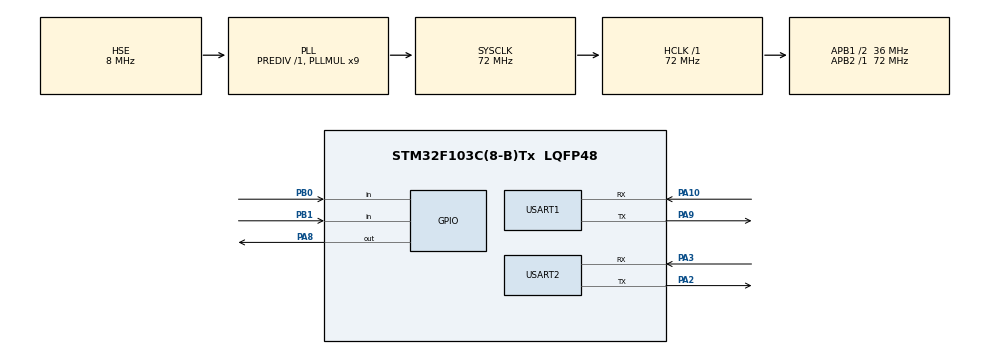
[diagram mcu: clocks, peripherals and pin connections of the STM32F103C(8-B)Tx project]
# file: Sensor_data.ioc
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FREERTOS.Tasks01=defaultTask,0,128,StartDefaultTask,Default,NULL,Dynamic,NULL,NULL
Mcu.Family=STM32F1
Mcu.Name=STM32F103C(8-B)Tx
Mcu.Package=LQFP48
NVIC.PriorityGroup=NVIC_PRIORITYGROUP_4
NVIC.TIM4_IRQn=true\:15\:0\:false\:false\:true\:false\:false\:true\:true
NVIC.TimeBase=TIM4_IRQn
NVIC.TimeBaseIP=TIM4
PA10.Mode=Asynchronous
PA10.Signal=USART1_RX
PA13.Mode=Serial_Wire
PA13.Signal=SYS_JTMS-SWDIO
PA14.Mode=Serial_Wire
PA14.Signal=SYS_JTCK-SWCLK
PA2.Mode=Asynchronous
PA2.Signal=USART2_TX
PA3.Mode=Asynchronous
PA3.Signal=USART2_RX
PA8.Signal=GPIO_Output
PA9.Mode=Asynchronous
PA9.Signal=USART1_TX
PB0.GPIO_PuPd=GPIO_PULLUP
PB0.Signal=GPIO_Input
PB1.GPIO_PuPd=GPIO_PULLUP
PB1.Signal=GPIO_Input
PD0-OSC_IN.Mode=HSE-External-Oscillator
PD0-OSC_IN.Signal=RCC_OSC_IN
PD1-OSC_OUT.Mode=HSE-External-Oscillator
PD1-OSC_OUT.Signal=RCC_OSC_OUT
ProjectManager.HeapSize=0x200
ProjectManager.StackSize=0x400
ProjectManager.TargetToolchain=MDK-ARM V5.32
RCC.AHBFreq_Value=72000000
RCC.APB1CLKDivider=RCC_HCLK_DIV2
RCC.APB1Freq_Value=36000000
RCC.APB1TimFreq_Value=72000000
RCC.APB2Freq_Value=72000000
RCC.APB2TimFreq_Value=72000000
RCC.HCLKFreq_Value=72000000
RCC.PLLMUL=RCC_PLL_MUL9
RCC.PLLSourceVirtual=RCC_PLLSOURCE_HSE
RCC.SYSCLKFreq_VALUE=72000000
RCC.SYSCLKSource=RCC_SYSCLKSOURCE_PLLCLK
RCC.USBFreq_Value=72000000
USART1.VirtualMode=VM_ASYNC
USART2.VirtualMode=VM_ASYNC
VP_FREERTOS_VS_CMSIS_V1.Mode=CMSIS_V1
VP_SYS_VS_tim4.Mode=TIM4
board=custom

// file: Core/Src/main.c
/* USER CODE BEGIN Header */
/**
  ******************************************************************************
  * @file           : main.c
  * @brief          : Main program body
  ******************************************************************************
  * @attention
  *
  * Copyright (c) 2022 STMicroelectronics.
  * All rights reserved.
  *
  * This software is licensed under terms that can be found in the LICENSE file
  * in the root directory of this software component.
  * If no LICENSE file comes with this software, it is provided AS-IS.
  *
  ******************************************************************************
  */
/* USER CODE END Header */
#include "main.h"
#include "cmsis_os.h"

 UART_HandleTypeDef huart1;
UART_HandleTypeDef huart2;

osThreadId defaultTaskHandle;
/* USER CODE BEGIN PV */
osThreadId taskNormalHandle;
uint8_t isPress = 0;
uint8_t isPress1 = 0;
uint32_t time = 0;
uint8_t defaultValue = 99;
uint8_t pressPedalValue;
uint8_t cnt;
uint8_t cnt1;
/* USER CODE END PV */

void SystemClock_Config(void);
static void MX_GPIO_Init(void);
static void MX_USART1_UART_Init(void);
static void MX_USART2_UART_Init(void);
void StartDefaultTask(void const * argument);

/* USER CODE BEGIN PFP */
void StartNormalTask();
/* USER CODE END PFP */

int main(void)
{

  /* MCU Configuration--------------------------------------------------------*/

  /* Reset of all peripherals, Initializes the Flash interface and the Systick. */
  HAL_Init();

  /* Configure the system clock */
  SystemClock_Config();

  /* Initialize all configured peripherals */
  MX_GPIO_Init();
  MX_USART1_UART_Init();
  MX_USART2_UART_Init();

  /* Create the thread(s) */
  /* definition and creation of defaultTask */
  osThreadDef(defaultTask, StartDefaultTask, osPriorityNormal, 0, 128);
  defaultTaskHandle = osThreadCreate(osThread(defaultTask), NULL);

  /* USER CODE BEGIN RTOS_THREADS */
  osThreadDef(normalTask,StartNormalTask,osPriorityBelowNormal,0,128);
	taskNormalHandle = osThreadCreate(osThread(normalTask), NULL);
  /* USER CODE END RTOS_THREADS */

  /* Start scheduler */
  osKernelStart();

  /* We should never get here as control is now taken by the scheduler */
  /* Infinite loop */
  while (1)
  {

    /* USER CODE BEGIN 3 */
//		if((HAL_GetTick() - time) > 5000){
//			HAL_UART_Transmit(&huart1,&defaultValue,1,200);
//			time = HAL_GetTick();
//		}
//		if(HAL_GPIO_ReadPin(GPIOB,GPIO_PIN_1) == 0){
//			if(isPress == 0){
//				HAL_Delay(20);
//				if(HAL_GPIO_ReadPin(GPIOB,GPIO_PIN_1) == 0){
//					isPress = 1;
//					cnt++;
//					for(uint8_t i=99;i>0;i--){
//						pressPedalValue = i;
//						HAL_UART_Transmit(&huart1,&pressPedalValue,1,200);
//						HAL_Delay(30);
//					}
//					while(HAL_GPIO_ReadPin(GPIOB,GPIO_PIN_1) == 0);
//				}
//			}
//		}
//		else{
//			isPress = 0;
//		}
  }
  /* USER CODE END 3 */
}

void SystemClock_Config(void)
{
  RCC_OscInitTypeDef RCC_OscInitStruct = {0};
  RCC_ClkInitTypeDef RCC_ClkInitStruct = {0};

  /** Initializes the RCC Oscillators according to the specified parameters
  * in the RCC_OscInitTypeDef structure.
  */
  RCC_OscInitStruct.OscillatorType = RCC_OSCILLATORTYPE_HSE;
  RCC_OscInitStruct.HSEState = RCC_HSE_ON;
  RCC_OscInitStruct.HSEPredivValue = RCC_HSE_PREDIV_DIV1;
  RCC_OscInitStruct.HSIState = RCC_HSI_ON;
  RCC_OscInitStruct.PLL.PLLState = RCC_PLL_ON;
  RCC_OscInitStruct.PLL.PLLSource = RCC_PLLSOURCE_HSE;
  RCC_OscInitStruct.PLL.PLLMUL = RCC_PLL_MUL9;
  if (HAL_RCC_OscConfig(&RCC_OscInitStruct) != HAL_OK)
  {
    Error_Handler();
  }

  /** Initializes the CPU, AHB and APB buses clocks
  */
  RCC_ClkInitStruct.ClockType = RCC_CLOCKTYPE_HCLK|RCC_CLOCKTYPE_SYSCLK
                              |RCC_CLOCKTYPE_PCLK1|RCC_CLOCKTYPE_PCLK2;
  RCC_ClkInitStruct.SYSCLKSource = RCC_SYSCLKSOURCE_PLLCLK;
  RCC_ClkInitStruct.AHBCLKDivider = RCC_SYSCLK_DIV1;
  RCC_ClkInitStruct.APB1CLKDivider = RCC_HCLK_DIV2;
  RCC_ClkInitStruct.APB2CLKDivider = RCC_HCLK_DIV1;

  if (HAL_RCC_ClockConfig(&RCC_ClkInitStruct, FLASH_LATENCY_2) != HAL_OK)
  {
    Error_Handler();
  }
}

static void MX_USART1_UART_Init(void)
{

  huart1.Instance = USART1;
  huart1.Init.BaudRate = 115200;
  huart1.Init.WordLength = UART_WORDLENGTH_8B;
  huart1.Init.StopBits = UART_STOPBITS_1;
  huart1.Init.Parity = UART_PARITY_NONE;
  huart1.Init.Mode = UART_MODE_TX_RX;
  huart1.Init.HwFlowCtl = UART_HWCONTROL_NONE;
  huart1.Init.OverSampling = UART_OVERSAMPLING_16;
  if (HAL_UART_Init(&huart1) != HAL_OK)
  {
    Error_Handler();
  }

}

static void MX_USART2_UART_Init(void)
{

  huart2.Instance = USART2;
  huart2.Init.BaudRate = 115200;
  huart2.Init.WordLength = UART_WORDLENGTH_8B;
  huart2.Init.StopBits = UART_STOPBITS_1;
  huart2.Init.Parity = UART_PARITY_NONE;
  huart2.Init.Mode = UART_MODE_TX_RX;
  huart2.Init.HwFlowCtl = UART_HWCONTROL_NONE;
  huart2.Init.OverSampling = UART_OVERSAMPLING_16;
  if (HAL_UART_Init(&huart2) != HAL_OK)
  {
    Error_Handler();
  }

}

static void MX_GPIO_Init(void)
{
  GPIO_InitTypeDef GPIO_InitStruct = {0};

  /* GPIO Ports Clock Enable */
  __HAL_RCC_GPIOD_CLK_ENABLE();
  __HAL_RCC_GPIOA_CLK_ENABLE();
  __HAL_RCC_GPIOB_CLK_ENABLE();

  /*Configure GPIO pin Output Level */
  HAL_GPIO_WritePin(GPIOA, GPIO_PIN_8, GPIO_PIN_RESET);

  /*Configure GPIO pins : PB0 PB1 */
  GPIO_InitStruct.Pin = GPIO_PIN_0|GPIO_PIN_1;
  GPIO_InitStruct.Mode = GPIO_MODE_INPUT;
  GPIO_InitStruct.Pull = GPIO_PULLUP;
  HAL_GPIO_Init(GPIOB, &GPIO_InitStruct);

  /*Configure GPIO pin : PA8 */
  GPIO_InitStruct.Pin = GPIO_PIN_8;
  GPIO_InitStruct.Mode = GPIO_MODE_OUTPUT_PP;
  GPIO_InitStruct.Pull = GPIO_NOPULL;
  GPIO_InitStruct.Speed = GPIO_SPEED_FREQ_LOW;
  HAL_GPIO_Init(GPIOA, &GPIO_InitStruct);

}

/* USER CODE BEGIN 4 */
void StartNormalTask(){
	while(1){
		if((HAL_GetTick() - time) > 5000){
			HAL_UART_Transmit(&huart1,&defaultValue,1,200);
			time = HAL_GetTick();
		}

		if(HAL_GPIO_ReadPin(GPIOB,GPIO_PIN_1) == 0){
			if(isPress == 0){
				HAL_Delay(20);
				if(HAL_GPIO_ReadPin(GPIOB,GPIO_PIN_1) == 0){
					isPress = 1;
					cnt++;
					pressPedalValue = 5;
					HAL_UART_Transmit(&huart1,&pressPedalValue,1,200);
					while(HAL_GPIO_ReadPin(GPIOB,GPIO_PIN_1) == 0);
				}
			}
		}
		else{
			isPress = 0;
		}

		if(HAL_GPIO_ReadPin(GPIOB,GPIO_PIN_0) == 0){
			if(isPress1 == 0){
				HAL_Delay(20);
				if(HAL_GPIO_ReadPin(GPIOB,GPIO_PIN_0) == 0){
					isPress1 = 1;
					cnt1++;
					HAL_GPIO_WritePin(GPIOA,GPIO_PIN_8,GPIO_PIN_RESET);
					osThreadResume(defaultTaskHandle);
				}
			}
		}
		else{
			isPress1 = 0;
		}
	}
}
/* USER CODE END 4 */

void StartDefaultTask(void const * argument)
{
  /* USER CODE BEGIN 5 */
  /* Infinite loop */
  while(1){
		osThreadSuspend(taskNormalHandle);
		if((HAL_GetTick() - time) > 5000){
			HAL_UART_Transmit(&huart1,&defaultValue,1,200);
			time = HAL_GetTick();
		}

		if(HAL_GPIO_ReadPin(GPIOB,GPIO_PIN_0) == 0){
			if(isPress1 == 0){
				HAL_Delay(20);
				if(HAL_GPIO_ReadPin(GPIOB,GPIO_PIN_0) == 0){
					isPress1 = 1;
					cnt++;
					HAL_GPIO_WritePin(GPIOA,GPIO_PIN_8,GPIO_PIN_SET);
					osThreadResume(taskNormalHandle);
					osThreadSuspend(NULL);
				}
			}
		}
		else{
			isPress1 = 0;
		}

		if(HAL_GPIO_ReadPin(GPIOB,GPIO_PIN_1) == 0){
			if(isPress == 0){
				HAL_Delay(20);
				if(HAL_GPIO_ReadPin(GPIOB,GPIO_PIN_1) == 0){
					isPress = 1;
					cnt++;
					for(uint8_t i=99;i>0;i--){
						pressPedalValue = i;
						HAL_UART_Transmit(&huart1,&pressPedalValue,1,200);
						HAL_Delay(30);
					}
					while(HAL_GPIO_ReadPin(GPIOB,GPIO_PIN_1) == 0);
				}
			}
		}
		else{
			isPress = 0;
		}
	}
  /* USER CODE END 5 */
}

void HAL_TIM_PeriodElapsedCallback(TIM_HandleTypeDef *htim)
{
  if (htim->Instance == TIM4) {
    HAL_IncTick();
  }
}

void Error_Handler(void)
{
  __disable_irq();
  while (1)
  {
  }
}
